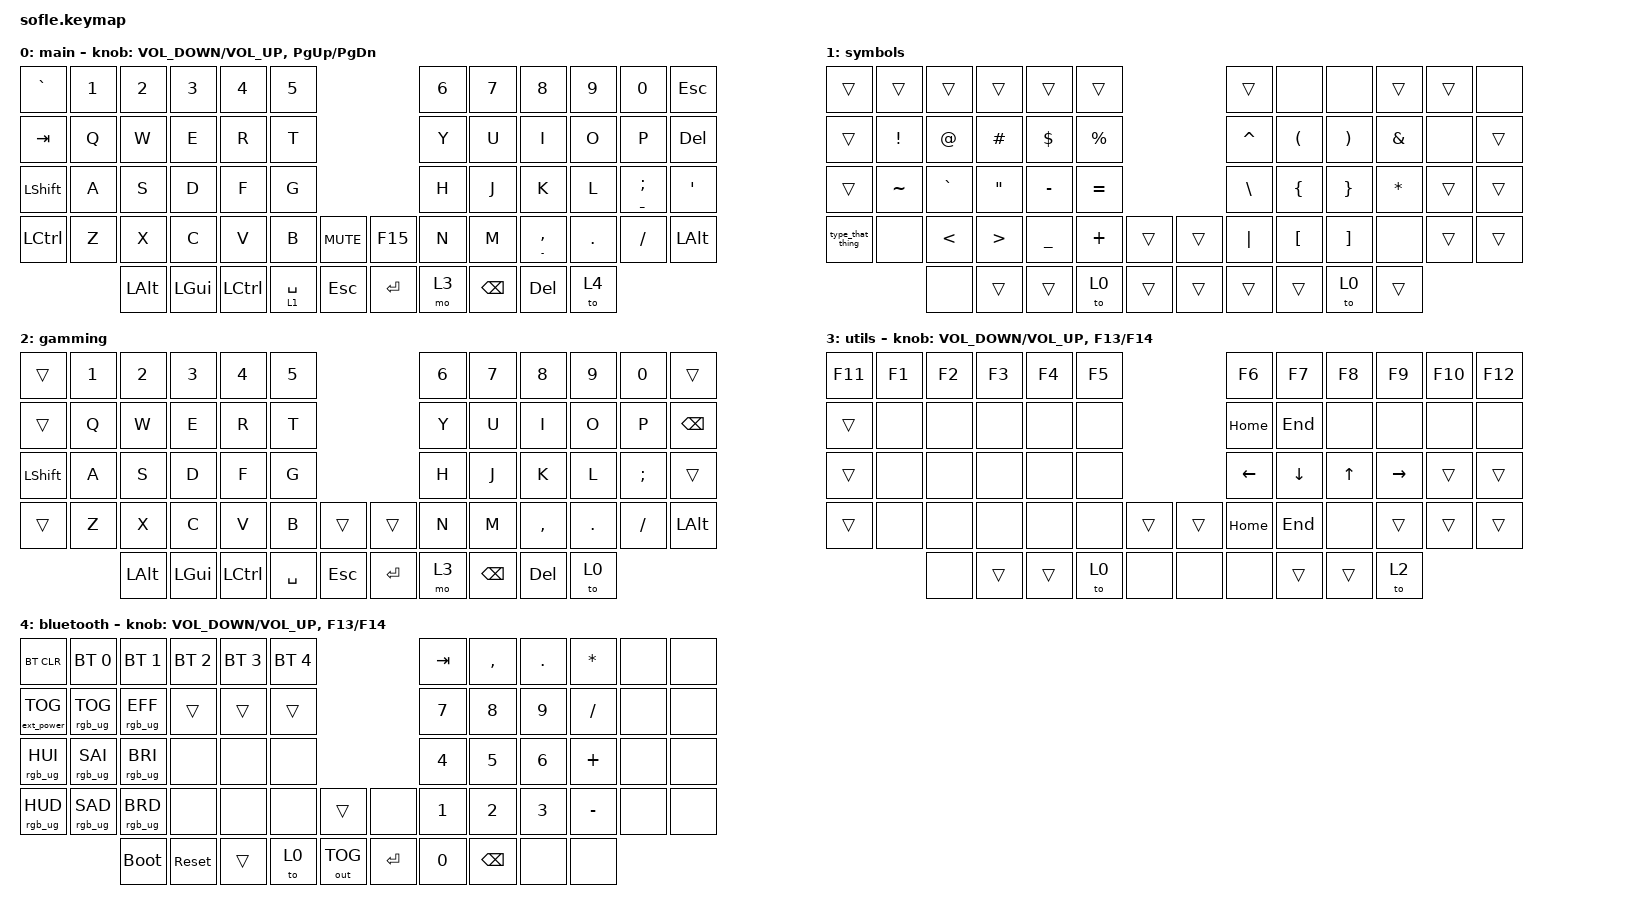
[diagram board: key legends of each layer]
/*
 * Copyright (c) 2020 The ZMK Contributors
 *
 * SPDX-License-Identifier: MIT
 */

#include <behaviors.dtsi>
#include <dt-bindings/zmk/bt.h>
#include <dt-bindings/zmk/ext_power.h>
#include <dt-bindings/zmk/keys.h>
#include <dt-bindings/zmk/outputs.h>
#include <dt-bindings/zmk/rgb.h>

#define BASE 0
#define LOWER 1
#define RAISE 2
#define ADJUST 3

&led_strip { chain-length = <30>; };

/ {
    // Activate ADJUST layer by pressing raise and lower

    conditional_layers { compatible = "zmk,conditional-layers"; };

    combos { compatible = "zmk,combos"; };

    macros {
        type_that_thing: type_that_thing {
            compatible = "zmk,behavior-macro";
            #binding-cells = <0>;
            bindings =
                <&macro_tap>,
                <&kp LS(A) &kp Q &kp Z &kp POUND &kp LS(H) &kp N3 &kp R &kp J &kp P &kp N &kp W &kp LS(X) &kp N6 &kp M &kp LS(D)>;

            label = "TYPE_THAT_THING";
        };
    };

    keymap {
        compatible = "zmk,keymap";

        main_layer {
            display-name = "main";

            // ------------------------------------------------------------------------------------------------------------
            // |   `   |  1  |  2  |  3   |  4   |  5   |                   |  6   |  7    |  8    |  9   |   0   |       |
            // |  ESC  |  Q  |  W  |  E   |  R   |  T   |                   |  Y   |  U    |  I    |  O   |   P   | BKSPC |
            // |  TAB  |  A  |  S  |  D   |  F   |  G   |                   |  H   |  J    |  K    |  L   |   ;   |   '   |
            // | SHIFT |  Z  |  X  |  C   |  V   |  B   |  MUTE  |  |       |  N   |  M    |  ,    |  .   |   /   | SHIFT |
            //               | GUI | ALT  | CTRL | LOWER|  ENTER |  | SPACE | RAISE| CTRL  | ALT   | GUI  |

            bindings = <
&kp GRAVE         &kp N1  &kp N2        &kp N3        &kp N4            &kp N5                                &kp N6  &kp N7         &kp N8           &kp N9   &kp N0                    &kp ESCAPE
&kp TAB           &kp Q   &kp W         &kp E         &kp R             &kp T                                 &kp Y   &kp U          &kp I            &kp O    &kp P                     &kp DELETE
&kp LEFT_SHIFT    &kp A   &kp S         &kp D         &kp F             &kp G                                 &kp H   &kp J          &kp K            &kp L    &mt UNDERSCORE SEMICOLON  &kp SQT
&kp LEFT_CONTROL  &kp Z   &kp X         &kp C         &kp V             &kp B        &kp C_MUTE    &kp F15    &kp N   &kp M          &mt MINUS COMMA  &kp DOT  &kp SLASH                 &kp LEFT_ALT
                          &kp LEFT_ALT  &kp LEFT_GUI  &kp LEFT_CONTROL  &lt 1 SPACE  &kp ESC       &kp ENTER  &mo 3   &kp BACKSPACE  &kp DELETE       &to 4
            >;

            sensor-bindings =
                <&inc_dec_kp C_VOLUME_DOWN C_VOLUME_UP>,
                <&inc_dec_kp PG_UP PAGE_DOWN>;
        };

        symbols_layer {
            bindings = <
&trans            &trans           &trans         &trans             &trans          &trans                         &trans         &none                 &none                  &trans        &trans  &none
&trans            &kp EXCLAMATION  &kp AT_SIGN    &kp HASH           &kp DOLLAR      &kp PERCENT                    &kp CARET      &kp LEFT_PARENTHESIS  &kp RIGHT_PARENTHESIS  &kp AMPS      &none   &trans
&trans            &kp TILDE        &kp GRAVE      &kp DOUBLE_QUOTES  &kp MINUS       &kp EQUAL                      &kp BACKSLASH  &kp LEFT_BRACE        &kp RIGHT_BRACE        &kp ASTERISK  &trans  &trans
&type_that_thing  &none            &kp LESS_THAN  &kp GREATER_THAN   &kp UNDERSCORE  &kp PLUS     &trans    &trans  &kp PIPE       &kp LEFT_BRACKET      &kp RBKT               &none         &trans  &trans
                                   &none          &trans             &trans          &to 0        &trans    &trans  &trans         &trans                &to 0                  &trans
            >;

            label = "symbols";
        };

        gamming_layer {
            bindings = <
&trans     &kp N1  &kp N2    &kp N3    &kp N4     &kp N5                         &kp N6  &kp N7    &kp N8     &kp N9   &kp N0    &trans
&trans     &kp Q   &kp W     &kp E     &kp R      &kp T                          &kp Y   &kp U     &kp I      &kp O    &kp P     &kp BSPC
&kp LSHFT  &kp A   &kp S     &kp D     &kp F      &kp G                          &kp H   &kp J     &kp K      &kp L    &kp SEMI  &trans
&trans     &kp Z   &kp X     &kp C     &kp V      &kp B      &trans     &trans   &kp N   &kp M     &kp COMMA  &kp DOT  &kp FSLH  &kp LALT
                   &kp LALT  &kp LGUI  &kp LCTRL  &kp SPACE  &kp ESC    &kp RET  &mo 3   &kp BSPC  &kp DEL    &to 0
            >;

            label = "gamming";
        };

        utils_layer {
            display-name = "utils";

            // TODO: Some binds are waiting for shifted keycode support.
            // ------------------------------------------------------------------------------------------------------------
            // |       |  F1 |  F2 |  F3  |  F4  |  F5  |                   |  F6  |  F7   |  F8   |  F9  |  F10  |  F11  |
            // |   `   |  1  |  2  |  3   |  4   |  5   |                   |  6   |  7    |  8    |  9   |   0   |  F12  |
            // |       |  !  |  @  |  #   |  $   |  %   |                   |  ^   |  &    |  *    |  (   |   )   |   |   |
            // |       |  =  |  -  |  +   |  {   |  }   |        |  |       |  [   |  ]    |  ;    |  :   |   \   |       |
            //               |     |      |      |      |        |  |       |      |       |       |      |

            bindings = <
&kp F11  &kp F1  &kp F2  &kp F3  &kp F4  &kp F5                    &kp F6          &kp F7          &kp F8        &kp F9           &kp F10  &kp F12
&trans   &none   &none   &none   &none   &none                     &kp HOME        &kp END         &none         &none            &none    &none
&trans   &none   &none   &none   &none   &none                     &kp LEFT_ARROW  &kp DOWN_ARROW  &kp UP_ARROW  &kp RIGHT_ARROW  &trans   &trans
&trans   &none   &none   &none   &none   &none   &trans    &trans  &kp HOME        &kp END         &none         &trans           &trans   &trans
                 &none   &trans  &trans  &to 0   &none     &none   &none           &trans          &trans        &to 2
            >;

            sensor-bindings =
                <&inc_dec_kp C_VOLUME_DOWN C_VOLUME_UP>,
                <&inc_dec_kp F13 F14>;
        };

        bluetooth_layer {
            // ----------------------------------------------------------------------------------------------------------------------------
            // | BTCLR  |  BT1    |  BT2    |   BT3   |   BT4   |   BT5   |                  |      |      |       |      |       |       |
            // | EXTPWR | RGB_HUD | RGB_HUI | RGB_SAD | RGB_SAI | RGB_EFF |                  |      |      |       |      |       |       |
            // |        | RGB_BRD | RGB_BRI |         |         |         |                  |      |      |       |      |       |       |
            // |        |         |         |         |         |         | RGB_TOG | |      |      |      |       |      |       |       |
            //                    |         |         |         |         |         | |      |      |      |       |      |

            display-name = "bluetooth";
            bindings = <
&bt BT_CLR         &bt BT_SEL 0     &bt BT_SEL 1     &bt BT_SEL 2  &bt BT_SEL 3  &bt BT_SEL 4                             &kp TAB       &kp COMMA      &kp PERIOD    &kp ASTERISK  &none  &none
&ext_power EP_TOG  &rgb_ug RGB_TOG  &rgb_ug RGB_EFF  &trans        &trans        &trans                                   &kp NUMBER_7  &kp NUMBER_8   &kp NUMBER_9  &kp SLASH     &none  &none
&rgb_ug RGB_HUI    &rgb_ug RGB_SAI  &rgb_ug RGB_BRI  &none         &none         &none                                    &kp NUMBER_4  &kp NUMBER_5   &kp NUMBER_6  &kp PLUS      &none  &none
&rgb_ug RGB_HUD    &rgb_ug RGB_SAD  &rgb_ug RGB_BRD  &none         &none         &none         &trans          &none      &kp NUMBER_1  &kp NUMBER_2   &kp NUMBER_3  &kp MINUS     &none  &none
                                    &bootloader      &sys_reset    &trans        &to 0         &out OUT_TOG    &kp ENTER  &kp NUMBER_0  &kp BACKSPACE  &none         &none
            >;

            sensor-bindings =
                <&inc_dec_kp C_VOLUME_DOWN C_VOLUME_UP>,
                <&inc_dec_kp F13 F14>;
        };
    };
};
